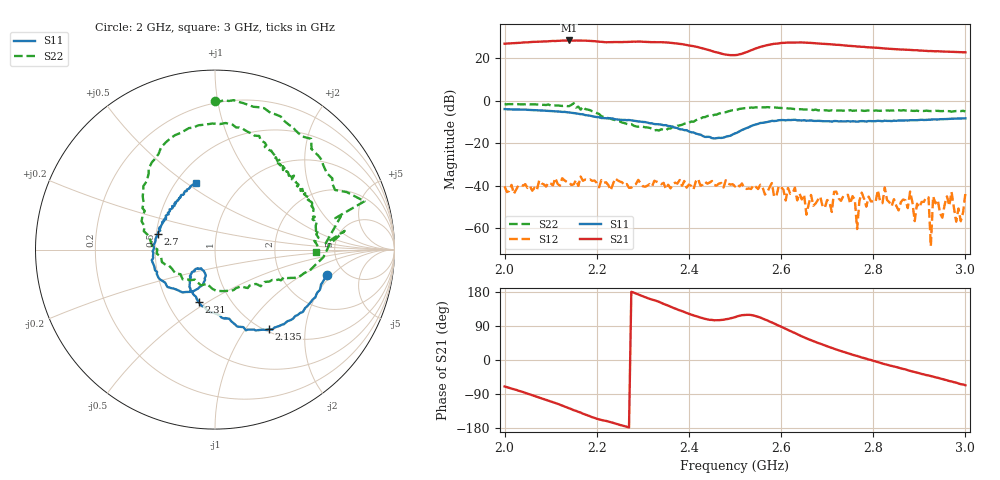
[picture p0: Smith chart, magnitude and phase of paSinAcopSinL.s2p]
!Agilent Technologies,E8364A,US41440144,A.06.04.32
!Agilent E8364A: A.06.04.32
!Date: Thursday, February 01, 2018 11:40:27
!Correction: S11(Full 2 Port(1,2)) S21(Full 2 Port(1,2)) S12(Full 2 Port(1,2)) S22(Full 2 Port(1,2))
!S2P File: Measurements: S11, S21, S12, S22:
# Hz S  dB  R 50
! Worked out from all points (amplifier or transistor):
!   201 points, 2 GHz to 3 GHz, reference 50 ohm
!   highest |S21| = 28.4 dB at 2.14 GHz (marker M1)
!   |S21| within 3 dB of that: start of sweep to 2.417 GHz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
!   unconditionally stable (mu >= 1): 2.2 GHz to end of sweep
!   at 2.165 GHz: K = 0.54, MSG = 32.0 dB, |S12| = -35.7 dB
!   at 2.5 GHz: K = 2.77, MAG = 23.6 dB, |S12| = -40.4 dB
!   at 3 GHz: K = 3.34, MAG = 25.0 dB, |S12| = -43.5 dB
!   S11 on the Smith chart (normalised r, x): 2 GHz: 3.66, -1.72; 2.135 GHz: 1.04, -1.30; 2.31 GHz: 0.71, -0.46; 2.7 GHz: 0.51, +0.10; 3 GHz: 0.63, +0.55
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2e9  -3.91 -12.6  26.89 -69.9  -40.31 -178.3  -1.63 90.2
2.06e9  -4.36 -29.9  27.71 -92.9  -42.35 152.0  -1.67 66.1
2.135e9  -5.40 -55.8  28.35 -124.9  -38.25 130.0  -2.50 29.5
2.14e9  -5.49 -57.4  28.40 -127.3  -38.38 127.5  -2.54 26.4
2.17e9  -6.35 -69.1  28.31 -141.7  -37.65 123.5  -2.74 8.2
2.28e9  -9.35 -97.2  27.85 178.0  -39.79 75.4  -11.71 -53.2
2.31e9  -10.28 -107.3  27.69 163.9  -39.94 62.4  -12.58 -80.0
2.335e9  -11.08 -114.7  27.58 153.6  -38.55 58.0  -14.00 -105.0
2.365e9  -12.31 -125.7  27.18 138.2  -39.42 56.5  -12.23 -137.4
2.395e9  -13.84 -133.5  26.29 124.0  -40.90 22.0  -10.35 -166.8
2.445e9  -17.00 -130.1  23.79 105.9  -38.49 11.4  -7.01 154.9
2.5e9  -15.37 -109.8  21.50 113.0  -40.35 -2.0  -4.37 124.0
2.525e9  -12.90 -112.5  22.89 119.1  -41.52 -1.8  -3.41 109.2
2.555e9  -10.47 -127.3  25.36 112.0  -39.54 -26.9  -3.07 91.2
2.585e9  -9.54 -146.4  26.83 96.2  -45.21 -65.2  -3.18 78.7
2.615e9  -9.03 -160.9  27.41 79.3  -41.01 -13.9  -3.61 67.4
2.67e9  -9.46 173.3  27.13 49.7  -49.42 -42.5  -4.38 54.9
2.7e9  -9.61 164.4  26.67 36.2  -46.70 -18.9  -4.58 49.7
2.76e9  -9.72 147.7  25.68 12.1  -46.45 -75.6  -4.62 41.4
2.835e9  -9.48 134.9  24.48 -14.3  -47.79 38.2  -4.67 28.3
2.905e9  -8.94 121.7  23.63 -36.8  -47.64 -4.9  -4.78 16.0
3e9  -8.27 105.5  22.80 -66.6  -43.53 -64.3  -4.99 -1.6
